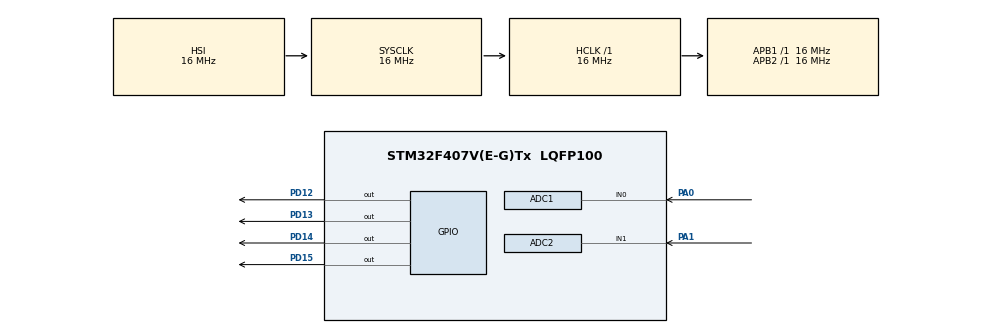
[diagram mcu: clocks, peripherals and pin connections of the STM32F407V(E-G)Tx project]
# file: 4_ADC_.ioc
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ADC1.Channel-0\#ChannelRegularConversion=ADC_CHANNEL_0
ADC1.ClockPrescaler=ADC_CLOCK_SYNC_PCLK_DIV4
ADC1.ContinuousConvMode=ENABLE
ADC1.NbrOfConversionFlag=1
ADC1.Rank-0\#ChannelRegularConversion=1
ADC1.SamplingTime-0\#ChannelRegularConversion=ADC_SAMPLETIME_56CYCLES
ADC1.master=1
ADC2.Channel-1\#ChannelRegularConversion=ADC_CHANNEL_1
ADC2.ClockPrescaler=ADC_CLOCK_SYNC_PCLK_DIV4
ADC2.ContinuousConvMode=ENABLE
ADC2.NbrOfConversionFlag=1
ADC2.Rank-1\#ChannelRegularConversion=1
ADC2.Resolution=ADC_RESOLUTION_8B
ADC2.SamplingTime-1\#ChannelRegularConversion=ADC_SAMPLETIME_112CYCLES
ADC2.ScanConvMode=ENABLE
Mcu.Family=STM32F4
Mcu.Name=STM32F407V(E-G)Tx
Mcu.Package=LQFP100
NVIC.PriorityGroup=NVIC_PRIORITYGROUP_4
PA0-WKUP.Signal=ADCx_IN0
PA1.Signal=ADCx_IN1
PD12.Signal=GPIO_Output
PD13.Signal=GPIO_Output
PD14.Signal=GPIO_Output
PD15.Signal=GPIO_Output
ProjectManager.HeapSize=0x200
ProjectManager.StackSize=0x400
ProjectManager.TargetToolchain=STM32CubeIDE
RCC.AHBFreq_Value=16000000
RCC.APB1Freq_Value=16000000
RCC.APB2Freq_Value=16000000
RCC.CortexFreq_Value=16000000
RCC.HSE_VALUE=25000000
RCC.HSI_VALUE=16000000
RCC.LSE_VALUE=32768
RCC.SYSCLKFreq_VALUE=16000000
RCC.VCOOutputFreq_Value=192000000
SH.ADCx_IN0.0=ADC1_IN0,IN0
SH.ADCx_IN1.0=ADC2_IN1,IN1
board=custom

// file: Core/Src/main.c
/* USER CODE BEGIN Header */
/**
  ******************************************************************************
  * @file           : main.c
  * @brief          : Main program body
  ******************************************************************************
  * @attention
  *
  * Copyright (c) 2026 STMicroelectronics.
  * All rights reserved.
  *
  * This software is licensed under terms that can be found in the LICENSE file
  * in the root directory of this software component.
  * If no LICENSE file comes with this software, it is provided AS-IS.
  *
  ******************************************************************************
  */
/* USER CODE END Header */
#include "main.h"

ADC_HandleTypeDef hadc1;
ADC_HandleTypeDef hadc2;

/* USER CODE BEGIN PV */
uint32_t analogVeriler;
uint8_t analogValue = 0;
/* USER CODE END PV */

void SystemClock_Config(void);
static void MX_GPIO_Init(void);
static void MX_ADC1_Init(void);
static void MX_ADC2_Init(void);

/* USER CODE BEGIN 0 */
uint32_t Read_ADC_Value(void)
{
	uint32_t  adcValue = 0;
	HAL_ADC_Start(&hadc1);
	HAL_ADC_PollForConversion(&hadc1, 1000);
	adcValue = HAL_ADC_GetValue(&hadc1);
	HAL_ADC_Stop(&hadc1);

	return adcValue;
}

uint8_t Read_ADC2_Value(void)
{
	uint8_t adc2Value = 0;
	if (HAL_ADC_Start(&hadc2) == HAL_OK)
	{
		if (HAL_ADC_PoolForConversion(&hadc2, 1000) == HAL_OK)
		{
			adc2Value = (uint8_t) HAL_ADC_GetValue(&hadc2);
		}
		HAL_ADC_Stop(&hadc2);
	}
	return adc2Value;
}
/* USER CODE END 0 */

int main(void)
{

  /* MCU Configuration--------------------------------------------------------*/

  /* Reset of all peripherals, Initializes the Flash interface and the Systick. */
  HAL_Init();

  /* Configure the system clock */
  SystemClock_Config();

  /* Initialize all configured peripherals */
  MX_GPIO_Init();
  MX_ADC1_Init();
  MX_ADC2_Init();

  /* Infinite loop */
  while (1)
  {

    /* USER CODE BEGIN 3 */
	  analogVeriler = Read_ADC_Value();
	  analogValue = Read_ADC2_value();
	  /* Analog deger 0-255 arası
	   * 0-51 ------- tum ledler sonuk (RESET ALL)
	   * 51-102 ----- PD12
	   * 102-153 ---- PD12 PD13
	   * 153-204 ---- PD12 PD13 PD14
	   * 204-255 ---- tum ledler yanık (SET ALL)
	   */

	  if (analogValue >= 0 && analogValue < 51)
	  {
		  HAL_GPIO_WritePin(GPIOD, GPIO_PIN_12 | GPIO_PIN_13 | GPIO_PIN_14 | GPIO_PIN_15, GPIO_PIN_RESET);
	  }
	  else if (analogValue >= 51 && analogValue < 102)
	  {
	      HAL_GPIO_WritePin(GPIOD, GPIO_PIN_12, GPIO_PIN_SET);
	      HAL_GPIO_WritePin(GPIOD, GPIO_PIN_13 | GPIO_PIN_14 | GPIO_PIN_15, GPIO_PIN_RESET);

	  }
	  else if (analogValue >= 102 && analogValue < 153)
	  {
	  	  HAL_GPIO_WritePin(GPIOD, GPIO_PIN_12 | GPIO_PIN13, GPIO_PIN_SET);
	  	  HAL_GPIO_WritePin(GPIOD, GPIO_PIN_14 | GPIO_PIN_15, GPIO_PIN_RESET);

	  }
	  else if (analogValue >= 153 && analogValue < 204)
	  {
	  	  HAL_GPIO_WritePin(GPIOD, GPIO_PIN_12 | GPIO_PIN_13 | GPIO_PIN_14, GPIO_PIN_SET);
	  	  HAL_GPIO_WritePin(GPIOD, GPIO_PIN_15, GPIO_PIN_RESET);

	  }
	  else
	  {
	  	  HAL_GPIO_WritePin(GPIOD, GPIO_PIN_12 | GPIO_PIN_13 | GPIO_PIN_14 | GPIO_PIN_15, GPIO_PIN_SET);

	  }
  }
  /* USER CODE END 3 */
}

void SystemClock_Config(void)
{
  RCC_OscInitTypeDef RCC_OscInitStruct = {0};
  RCC_ClkInitTypeDef RCC_ClkInitStruct = {0};

  /** Configure the main internal regulator output voltage
  */
  __HAL_RCC_PWR_CLK_ENABLE();
  __HAL_PWR_VOLTAGESCALING_CONFIG(PWR_REGULATOR_VOLTAGE_SCALE1);

  /** Initializes the RCC Oscillators according to the specified parameters
  * in the RCC_OscInitTypeDef structure.
  */
  RCC_OscInitStruct.OscillatorType = RCC_OSCILLATORTYPE_HSI;
  RCC_OscInitStruct.HSIState = RCC_HSI_ON;
  RCC_OscInitStruct.HSICalibrationValue = RCC_HSICALIBRATION_DEFAULT;
  RCC_OscInitStruct.PLL.PLLState = RCC_PLL_NONE;
  if (HAL_RCC_OscConfig(&RCC_OscInitStruct) != HAL_OK)
  {
    Error_Handler();
  }

  /** Initializes the CPU, AHB and APB buses clocks
  */
  RCC_ClkInitStruct.ClockType = RCC_CLOCKTYPE_HCLK|RCC_CLOCKTYPE_SYSCLK
                              |RCC_CLOCKTYPE_PCLK1|RCC_CLOCKTYPE_PCLK2;
  RCC_ClkInitStruct.SYSCLKSource = RCC_SYSCLKSOURCE_HSI;
  RCC_ClkInitStruct.AHBCLKDivider = RCC_SYSCLK_DIV1;
  RCC_ClkInitStruct.APB1CLKDivider = RCC_HCLK_DIV1;
  RCC_ClkInitStruct.APB2CLKDivider = RCC_HCLK_DIV1;

  if (HAL_RCC_ClockConfig(&RCC_ClkInitStruct, FLASH_LATENCY_0) != HAL_OK)
  {
    Error_Handler();
  }
}

static void MX_ADC1_Init(void)
{

  ADC_ChannelConfTypeDef sConfig = {0};

  /** Configure the global features of the ADC (Clock, Resolution, Data Alignment and number of conversion)
  */
  hadc1.Instance = ADC1;
  hadc1.Init.ClockPrescaler = ADC_CLOCK_SYNC_PCLK_DIV4;
  hadc1.Init.Resolution = ADC_RESOLUTION_12B;
  hadc1.Init.ScanConvMode = DISABLE;
  hadc1.Init.ContinuousConvMode = ENABLE;
  hadc1.Init.DiscontinuousConvMode = DISABLE;
  hadc1.Init.ExternalTrigConvEdge = ADC_EXTERNALTRIGCONVEDGE_NONE;
  hadc1.Init.ExternalTrigConv = ADC_SOFTWARE_START;
  hadc1.Init.DataAlign = ADC_DATAALIGN_RIGHT;
  hadc1.Init.NbrOfConversion = 1;
  hadc1.Init.DMAContinuousRequests = DISABLE;
  hadc1.Init.EOCSelection = ADC_EOC_SINGLE_CONV;
  if (HAL_ADC_Init(&hadc1) != HAL_OK)
  {
    Error_Handler();
  }

  /** Configure for the selected ADC regular channel its corresponding rank in the sequencer and its sample time.
  */
  sConfig.Channel = ADC_CHANNEL_0;
  sConfig.Rank = 1;
  sConfig.SamplingTime = ADC_SAMPLETIME_56CYCLES;
  if (HAL_ADC_ConfigChannel(&hadc1, &sConfig) != HAL_OK)
  {
    Error_Handler();
  }

}

static void MX_ADC2_Init(void)
{

  ADC_ChannelConfTypeDef sConfig = {0};

  /** Configure the global features of the ADC (Clock, Resolution, Data Alignment and number of conversion)
  */
  hadc2.Instance = ADC2;
  hadc2.Init.ClockPrescaler = ADC_CLOCK_SYNC_PCLK_DIV4;
  hadc2.Init.Resolution = ADC_RESOLUTION_8B;
  hadc2.Init.ScanConvMode = ENABLE;
  hadc2.Init.ContinuousConvMode = ENABLE;
  hadc2.Init.DiscontinuousConvMode = DISABLE;
  hadc2.Init.ExternalTrigConvEdge = ADC_EXTERNALTRIGCONVEDGE_NONE;
  hadc2.Init.ExternalTrigConv = ADC_SOFTWARE_START;
  hadc2.Init.DataAlign = ADC_DATAALIGN_RIGHT;
  hadc2.Init.NbrOfConversion = 1;
  hadc2.Init.DMAContinuousRequests = DISABLE;
  hadc2.Init.EOCSelection = ADC_EOC_SINGLE_CONV;
  if (HAL_ADC_Init(&hadc2) != HAL_OK)
  {
    Error_Handler();
  }

  /** Configure for the selected ADC regular channel its corresponding rank in the sequencer and its sample time.
  */
  sConfig.Channel = ADC_CHANNEL_1;
  sConfig.Rank = 1;
  sConfig.SamplingTime = ADC_SAMPLETIME_112CYCLES;
  if (HAL_ADC_ConfigChannel(&hadc2, &sConfig) != HAL_OK)
  {
    Error_Handler();
  }

}

static void MX_GPIO_Init(void)
{

  /* GPIO Ports Clock Enable */
  __HAL_RCC_GPIOA_CLK_ENABLE();

}

void Error_Handler(void)
{
  __disable_irq();
  while (1)
  {
  }
}
